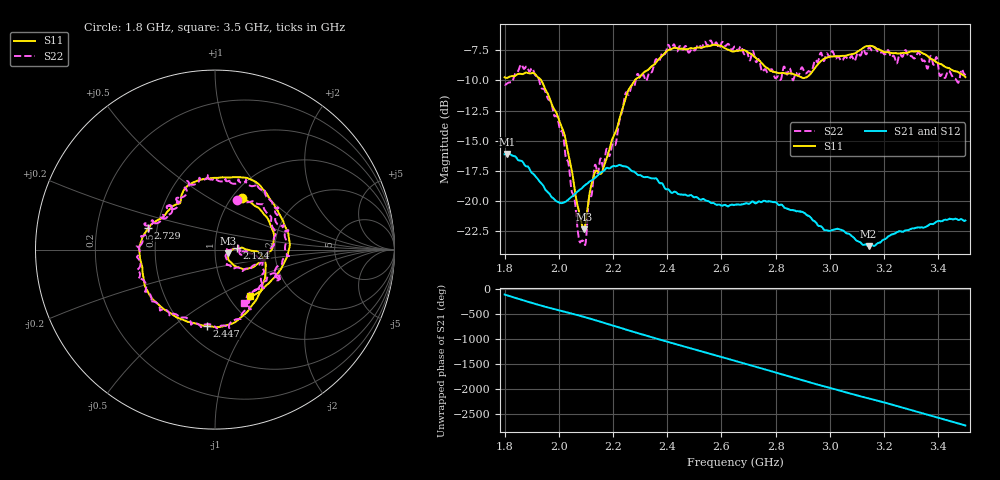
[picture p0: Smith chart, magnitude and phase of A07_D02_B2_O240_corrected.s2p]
! Created with skrf 1.9.0 (http://scikit-rf.org).
# Hz S RI R 50.0
!freq ReS11 ImS11 ReS21 ImS21 ReS12 ImS12 ReS22 ImS22
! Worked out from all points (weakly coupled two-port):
!   1601 points, 1.8 GHz to 3.5 GHz, reference 50 ohm
!   highest |S21| = -16.10 dB at 1.808 GHz (marker M1); lowest = -23.8 dB at 3.143 GHz (marker M2)
!   lowest |S11| = -22.4 dB at 2.092 GHz (marker M3), VSWR 1.17, Z = 57.8 - j2.47 ohm
!   |S11| at or under -10 dB: 1.935 GHz to 2.28 GHz (344.6 MHz wide, 16.3 % of centre)
!   |S22| runs from -23.7 to -6.7 dB; largest |S21 - S12| = 0.0025
!   S11 on the Smith chart (normalised r, x): 1.8 GHz: 1.11, +0.72; 2.124 GHz: 1.27, +0.02; 2.447 GHz: 0.64, -0.67; 2.729 GHz: 0.45, +0.12; 3.5 GHz: 1.26, -0.73
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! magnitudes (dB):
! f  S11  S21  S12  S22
! 1.8 GHz  -9.7  -16.1  -16.1  -10.4
! 1.808 GHz  -9.8  -16.1  -16.1  -10.3
! 1.901 GHz  -9.4  -17.7  -17.6  -9.0
! 1.968 GHz  -11.6  -19.5  -19.5  -11.7
! 2.014 GHz  -14.0  -20.2  -20.2  -14.3
! 2.084 GHz  -21.8  -19.0  -18.9  -23.3
! 2.092 GHz  -22.4  -18.8  -18.8  -23.4
! 2.124 GHz  -18.3  -18.3  -18.2  -19.0
! 2.161 GHz  -17.5  -17.6  -17.5  -17.2
! 2.209 GHz  -14.3  -17.1  -17.1  -15.3
! 2.247 GHz  -11.4  -17.1  -17.1  -11.0
! 2.367 GHz  -8.3  -18.4  -18.3  -8.5
! 2.447 GHz  -7.4  -19.5  -19.5  -7.2
! 2.65 GHz  -7.6  -20.3  -20.3  -7.2
! 2.729 GHz  -8.2  -20.2  -20.2  -8.5
! 2.812 GHz  -9.4  -20.3  -20.2  -9.7
! 2.934 GHz  -9.3  -21.5  -21.5  -9.2
! 3.143 GHz  -7.2  -23.8  -23.7  -7.3
! 3.217 GHz  -7.7  -22.9  -22.9  -7.6
! 3.33 GHz  -7.6  -22.2  -22.2  -7.7
! 3.416 GHz  -8.7  -21.7  -21.6  -9.5
! 3.5 GHz  -9.7  -21.6  -21.6  -9.4
